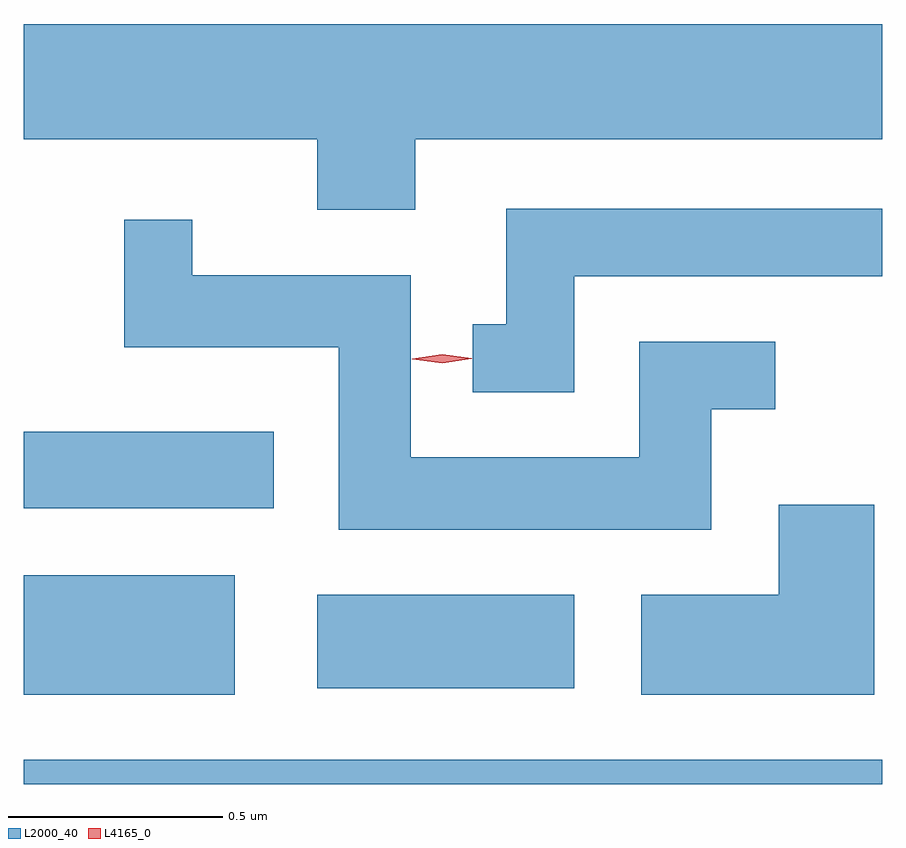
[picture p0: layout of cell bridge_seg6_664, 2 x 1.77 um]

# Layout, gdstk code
import gdstk
lib = gdstk.Library(unit=1e-6, precision=1e-09)
def R(c, l, rs):  # rectangles x0, y0, x1, y1
    for r in rs: c.add(gdstk.rectangle(r[:2], r[2:], *l))
def P(c, l, *ps):  # polygons
    for p in ps: c.add(gdstk.Polygon(p, *l))
L2000_40 = (2000, 40)
L4165_0 = (4165, 0)

bridge_seg6_664 = lib.new_cell('bridge_seg6_664')
R(bridge_seg6_664, L2000_40, [(318.907,1659.533,320.907,1659.589), (318.907,1659.741,319.399,1660.019), (319.591,1659.756,320.189,1659.974), (318.907,1660.176,319.489,1660.354)])
P(bridge_seg6_664, L2000_40, [(319.819,1661.036),(320.907,1661.036),(320.907,1661.304),(318.907,1661.304),(318.907,1661.036),(319.591,1661.036),(319.591,1660.871),(319.819,1660.871)],
  [(320.189,1660.716),(320.907,1660.716),(320.907,1660.874),(320.031,1660.874),(320.031,1660.604),(319.953,1660.604),(319.953,1660.446),(320.189,1660.446)],
  [(320.509,1660.406),(320.658,1660.406),(320.658,1660.564),(320.341,1660.564),(320.341,1660.294),(319.809,1660.294),(319.809,1660.719),(319.299,1660.719),(319.299,1660.848),(319.141,1660.848),(319.141,1660.551),(319.641,1660.551),(319.641,1660.126),(320.509,1660.126)],
  [(320.889,1660.184),(320.666,1660.184),(320.666,1659.974),(320.346,1659.974),(320.346,1659.741),(320.889,1659.741)])
P(bridge_seg6_664, L4165_0, [(319.882,1660.514),(319.812,1660.523),(319.812,1660.524),(319.812,1660.524),(319.882,1660.534),(319.951,1660.525),(319.951,1660.524),(319.951,1660.524)])

lib.write_gds('bridge_seg6_664.gds')
